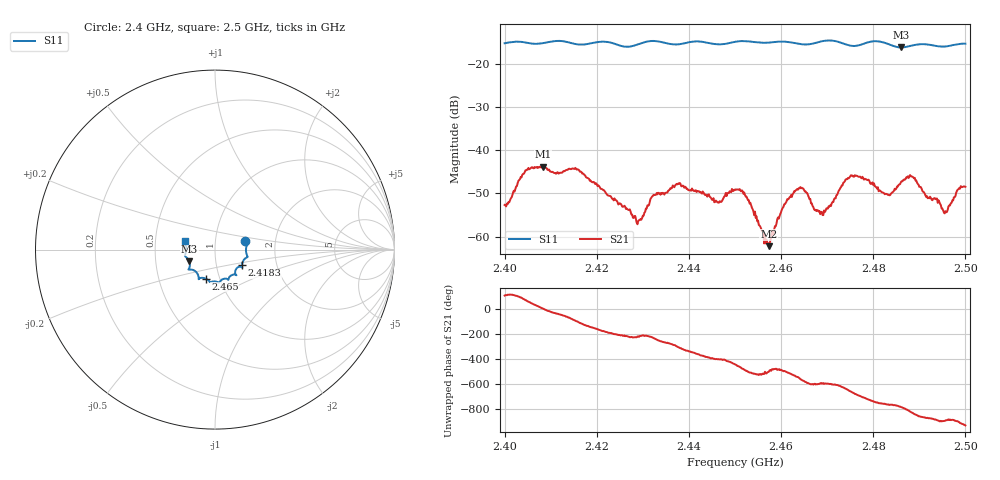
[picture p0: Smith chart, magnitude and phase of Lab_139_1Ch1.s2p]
# Hz S RI R 50
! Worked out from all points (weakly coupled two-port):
!   601 points, 2.4 GHz to 2.5 GHz, reference 50 ohm
!   highest |S21| = -43.76 dB at 2.4083 GHz (marker M1); lowest = -62.2 dB at 2.4573 GHz (marker M2)
!   lowest |S11| = -16.1 dB at 2.486 GHz (marker M3), VSWR 1.37, Z = 37.2 - j4.94 ohm
!   |S11| at or under -10 dB: start of sweep to end of sweep
!   S12 and S22 are empty: the file has one direction only
!   S11 on the Smith chart (normalised r, x): 2.4 GHz: 1.40, +0.13; 2.4183 GHz: 1.33, -0.24; 2.465 GHz: 0.86, -0.28; 2.5 GHz: 0.71, +0.07
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2.4e9  0.1687 0.0465  -0.000839 0.00217  0 0  0 0
2.404667e9  0.1768 0.0223  0.00162 0.00565  0 0  0 0
2.408333e9  0.1747 -0.0198  0.00645 0.000719  0 0  0 0
2.416667e9  0.1547 -0.0679  -0.0022 -0.00517  0 0  0 0
2.418333e9  0.1499 -0.0871  -0.00341 -0.00318  0 0  0 0
2.429e9  0.1121 -0.1286  -0.00121 0.000909  0 0  0 0
2.433333e9  0.1179 -0.1411  -0.00124 0.00298  0 0  0 0
2.437667e9  0.0849 -0.1475  0.00213 0.00353  0 0  0 0
2.446667e9  0.0474 -0.1633  0.00197 -0.00164  0 0  0 0
2.45e9  0.0258 -0.1802  0.000644 -0.00341  0 0  0 0
2.4525e9  0.0203 -0.1839  -0.002 -0.00211  0 0  0 0
2.457333e9  -0.0123 -0.1779  -0.000578 -0.000514  0 0  0 0
2.461167e9  -0.0295 -0.1796  -0.00197 -0.00161  0 0  0 0
2.465e9  -0.0525 -0.1614  -0.00291 0.00187  0 0  0 0
2.466667e9  -0.0713 -0.1572  -0.00131 0.00205  0 0  0 0
2.4695e9  -0.0906 -0.1638  -0.00117 0.00153  0 0  0 0
2.4755e9  -0.1051 -0.1247  0.00286 0.00423  0 0  0 0
2.483333e9  -0.1411 -0.0965  0.00233 -0.00198  0 0  0 0
2.486e9  -0.1425 -0.0647  0.00211 -0.00372  0 0  0 0
2.4885e9  -0.1594 -0.0432  -0.00147 -0.00473  0 0  0 0
2.495667e9  -0.1603 0.0122  -0.00193 -0.000414  0 0  0 0
2.5e9  -0.1667 0.047  -0.00335 0.00177  0 0  0 0
